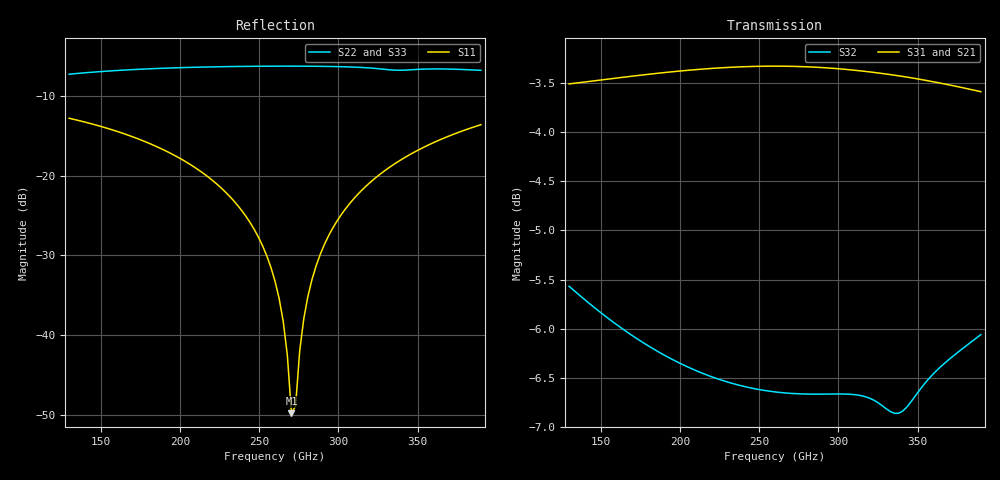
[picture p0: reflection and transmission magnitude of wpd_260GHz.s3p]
#  GHZ S DB R 50
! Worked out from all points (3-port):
!   101 points, 130 GHz to 390 GHz, reference 50 ohm
!   strongest paths, dB at 130 GHz, 195 GHz, 260 GHz, 325 GHz, 390 GHz:
!     S31: -3.5, -3.4, -3.3, -3.4, -3.6
!     S21: -3.5, -3.4, -3.3, -3.4, -3.6
!     S32: -5.6, -6.3, -6.6, -6.8, -6.1
!   lowest |S11| = -49.8 dB at 270.4 GHz (marker M1), VSWR 1.01, Z = 49.8 + j0.234 ohm
!   |S11| at or under -10 dB: start of sweep to end of sweep
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130  -12.78 135.4  -3.52 -43.5  -3.51 -43.5
     -3.52 -43.5  -7.25 53.4  -5.57 -95.7
     -3.51 -43.5  -5.57 -95.7  -7.26 53.3
218.4  -20.24 105.7  -3.36 -74.3  -3.36 -74.3
       -3.36 -74.3  -6.34 11.7  -6.48 -151.1
       -3.36 -74.3  -6.48 -151.1  -6.35 11.6
244.4  -25.91 97.9  -3.34 -83.6  -3.33 -83.6
       -3.34 -83.6  -6.26 1.7  -6.60 -167.0
       -3.33 -83.6  -6.60 -167.0  -6.27 1.6
260  -33.22 95.9  -3.34 -89.2  -3.33 -89.2
     -3.34 -89.2  -6.24 -4.2  -6.64 -176.5
     -3.33 -89.2  -6.64 -176.5  -6.25 -4.3
265.2  -38.28 99.1  -3.34 -91.1  -3.33 -91.1
       -3.34 -91.1  -6.24 -6.1  -6.65 -179.6
       -3.33 -91.1  -6.65 -179.6  -6.25 -6.2
270.4  -49.81 133.3  -3.34 -92.9  -3.33 -93.0
       -3.34 -92.9  -6.24 -8.0  -6.66 177.2
       -3.33 -93.0  -6.66 177.2  -6.25 -8.1
273  -48.87 -136.3  -3.34 -93.9  -3.33 -93.9
     -3.34 -93.9  -6.24 -9.0  -6.66 175.6
     -3.33 -93.9  -6.66 175.6  -6.25 -9.1
280.8  -35.10 -105.5  -3.34 -96.7  -3.34 -96.7
       -3.34 -96.7  -6.25 -11.9  -6.66 170.8
       -3.34 -96.7  -6.66 170.8  -6.26 -12.0
299  -25.72 -106.8  -3.36 -103.2  -3.36 -103.3
     -3.36 -103.2  -6.30 -18.7  -6.66 159.5
     -3.36 -103.3  -6.66 159.5  -6.30 -18.8
390  -13.59 -136.7  -3.59 -135.7  -3.59 -135.8
     -3.59 -135.7  -6.77 -53.7  -6.06 104.5
     -3.59 -135.8  -6.06 104.5  -6.76 -53.9
